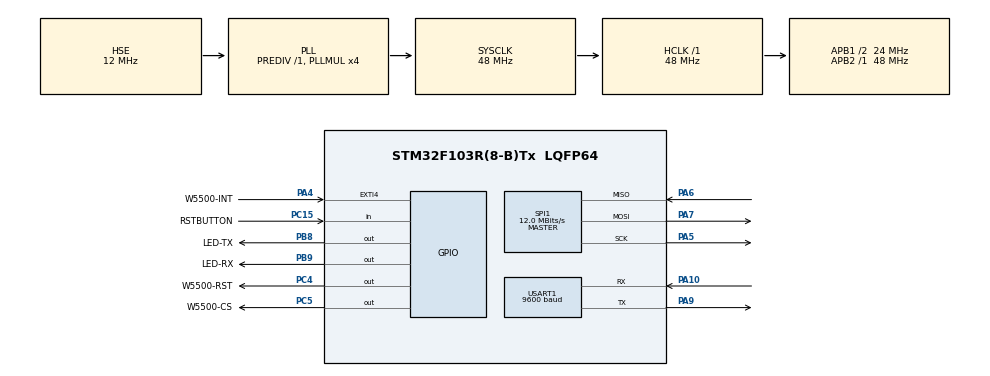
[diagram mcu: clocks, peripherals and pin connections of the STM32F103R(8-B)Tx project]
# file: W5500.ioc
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Mcu.Family=STM32F1
Mcu.Name=STM32F103R(8-B)Tx
Mcu.Package=LQFP64
NVIC.EXTI4_IRQn=true\:0\:0\:false\:false\:true\:true\:true\:true
NVIC.PriorityGroup=NVIC_PRIORITYGROUP_4
NVIC.SPI1_IRQn=true\:0\:0\:false\:false\:true\:true\:true\:true
NVIC.TIM2_IRQn=true\:0\:0\:false\:false\:true\:true\:true\:true
NVIC.TIM3_IRQn=true\:0\:0\:false\:false\:true\:true\:true\:true
NVIC.TIM4_IRQn=true\:0\:0\:false\:false\:true\:true\:true\:true
NVIC.USART1_IRQn=true\:0\:0\:false\:false\:true\:true\:true\:true
PA10.Mode=Asynchronous
PA10.Signal=USART1_RX
PA13.Mode=Serial_Wire
PA13.Signal=SYS_JTMS-SWDIO
PA14.Mode=Serial_Wire
PA14.Signal=SYS_JTCK-SWCLK
PA4.GPIO_Label=W5500-INT
PA4.GPIO_ModeDefaultEXTI=GPIO_MODE_IT_FALLING
PA4.Signal=GPXTI4
PA5.Mode=Full_Duplex_Master
PA5.Signal=SPI1_SCK
PA6.Mode=Full_Duplex_Master
PA6.Signal=SPI1_MISO
PA7.Mode=Full_Duplex_Master
PA7.Signal=SPI1_MOSI
PA9.Mode=Asynchronous
PA9.Signal=USART1_TX
PB8.GPIO_Label=LED-TX
PB8.GPIO_ModeDefaultOutputPP=GPIO_MODE_OUTPUT_OD
PB8.GPIO_PuPd=GPIO_NOPULL
PB8.PinState=GPIO_PIN_SET
PB8.Signal=GPIO_Output
PB9.GPIO_Label=LED-RX
PB9.PinState=GPIO_PIN_SET
PB9.Signal=GPIO_Output
PC15-OSC32_OUT.GPIO_Label=RSTBUTTON
PC15-OSC32_OUT.GPIO_PuPd=GPIO_PULLUP
PC15-OSC32_OUT.Signal=GPIO_Input
PC4.GPIO_Label=W5500-RST
PC4.GPIO_ModeDefaultOutputPP=GPIO_MODE_OUTPUT_PP
PC4.GPIO_PuPd=GPIO_NOPULL
PC4.PinState=GPIO_PIN_SET
PC4.Signal=GPIO_Output
PC5.GPIO_Label=W5500-CS
PC5.Signal=GPIO_Output
PD0-OSC_IN.Mode=HSE-External-Oscillator
PD0-OSC_IN.Signal=RCC_OSC_IN
PD1-OSC_OUT.Mode=HSE-External-Oscillator
PD1-OSC_OUT.Signal=RCC_OSC_OUT
ProjectManager.HeapSize=0x200
ProjectManager.StackSize=0x400
ProjectManager.TargetToolchain=STM32CubeIDE
RCC.AHBFreq_Value=48000000
RCC.APB1CLKDivider=RCC_HCLK_DIV2
RCC.APB1Freq_Value=24000000
RCC.APB1TimFreq_Value=48000000
RCC.APB2Freq_Value=48000000
RCC.APB2TimFreq_Value=48000000
RCC.HCLKFreq_Value=48000000
RCC.HSE_VALUE=12000000
RCC.PLLMUL=RCC_PLL_MUL4
RCC.PLLSourceVirtual=RCC_PLLSOURCE_HSE
RCC.SYSCLKFreq_VALUE=48000000
RCC.SYSCLKSource=RCC_SYSCLKSOURCE_PLLCLK
RCC.USBFreq_Value=48000000
SPI1.BaudRatePrescaler=SPI_BAUDRATEPRESCALER_4
SPI1.CalculateBaudRate=12.0 MBits/s
SPI1.Direction=SPI_DIRECTION_2LINES
SPI1.Mode=SPI_MODE_MASTER
SPI1.VirtualType=VM_MASTER
TIM2.Period=48000
TIM2.Prescaler=100
TIM3.Period=48000
TIM3.Prescaler=1
TIM4.Period=12000
TIM4.Prescaler=3
USART1.BaudRate=9600
USART1.VirtualMode=VM_ASYNC
VP_TIM2_VS_ClockSourceINT.Mode=Internal
VP_TIM3_VS_ClockSourceINT.Mode=Internal
VP_TIM4_VS_ClockSourceINT.Mode=Internal
board=custom

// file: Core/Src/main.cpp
/* USER CODE BEGIN Header */
/**
  ******************************************************************************
  * @file           : main.c
  * @brief          : Main program body
  ******************************************************************************
  * @attention
  *
  * Copyright (c) 2023 STMicroelectronics.
  * All rights reserved.
  *
  * This software is licensed under terms that can be found in the LICENSE file
  * in the root directory of this software component.
  * If no LICENSE file comes with this software, it is provided AS-IS.
  *
  ******************************************************************************
  */
/* USER CODE END Header */
#include "main.h"

/* USER CODE BEGIN Includes */
#include <stdlib.h>
#include <string.h>
#include "W5500.h"
#include "flashRW.h"
#include "dataProcessing.h"
/* USER CODE END Includes */

SPI_HandleTypeDef hspi1;

TIM_HandleTypeDef htim2;
TIM_HandleTypeDef htim3;
TIM_HandleTypeDef htim4;

UART_HandleTypeDef huart1;

/* USER CODE BEGIN PV */

CommonRegisterBlock crb {
	0, // uint8_t mr {0};		// offset 0x01
	0, // uint8_t gar0 {0};		// offset 0x01
	0, // uint8_t gar1 {0};		// offset 0x02
	0, // uint8_t gar2 {0};		// offset 0x03
	0, // uint8_t gar3 {0};		// offset 0x04
	255, // uint8_t subr0 {0};		// offset 0x05
	255, // uint8_t subr1 {0};		// offset 0x06
	255, // uint8_t subr2 {0};		// offset 0x07
	0, // uint8_t subr3 {0};		// offset 0x08
	0x00, //0x89, // uint8_t shar0 {0};		// offset 0x09
	0x20, //0xAB, // uint8_t shar1 {0};		// offset 0x0A
	0x4A, //0xCD, // uint8_t shar2 {0};		// offset 0x0B
	0xEB, //0xEF, // uint8_t shar3 {0};		// offset 0x0C
	0x03, //0, // uint8_t shar4 {0};		// offset 0x0D
	0x38, //0x02, // uint8_t shar5 {0};		// offset 0x0E
	10, // uint8_t sipr0 {0};		// offset 0x0F
	15, // uint8_t sipr1 {0};		// offset 0x10
	33, // uint8_t sipr2 {0};		// offset 0x11
	103, // uint8_t sipr3 {0};		// offset 0x12
	0, // uint8_t intlevel0 {0};	// offset 0x13
	0, // uint8_t intlevel1 {0};	// offset 0x14
	0, // uint8_t ir {0};			// offset 0x15
	0b11000000, // uint8_t imr {0};		// offset 0x16
	0, // uint8_t sir {0};		// offset 0x17
	0b00000111, // uint8_t simr {0};		// offset 0x18
	0x07, // uint8_t rtr0 {0x07};	// offset 0x19
	0xD0, // uint8_t rtr1 {0xD0};	// offset 0x1A
	0x08, // uint8_t rcr {0x08};		// offset 0x1B
	0x28, // uint8_t ptimer {0x28};	// offset 0x1C
	0, // uint8_t pmagic {0};		// offset 0x1D
	0, // uint8_t phar0 {0};		// offset 0x1E
	0, // uint8_t phar1 {0};		// offset 0x1F
	0, // uint8_t phar2 {0};		// offset 0x20
	0, // uint8_t phar3 {0};		// offset 0x21
	0, // uint8_t phar4 {0};		// offset 0x22
	0, // uint8_t phar5 {0};		// offset 0x23
	0, // uint8_t psid0 {0};		// offset 0x24
	0, // uint8_t psid1 {0};		// offset 0x25
	0xFF, // uint8_t pmru0 {0xFF};	// offset 0x26
	0xFF, // uint8_t pmru1 {0xFF};	// offset 0x27
	0, // uint8_t uipr0 {0};		// offset 0x28
	0, // uint8_t uipr1 {0};		// offset 0x29
	0, // uint8_t uipr2 {0};		// offset 0x2A
	0, // uint8_t uipr3 {0};		// offset 0x2B
	0, // uint8_t uportr0 {0};	// offset 0x2C
	0, // uint8_t uportr1 {0};	// offset 0x2D
	0b10111000, // uint8_t phycfgr {0b10111000};	// offset 0x2E
	0, // uint8_t reserved {0};	// offset 0x2F
};

CommonRegisterBlock crbDefault {
	0, // uint8_t mr {0};		// offset 0x01
	0, // uint8_t gar0 {0};		// offset 0x01
	0, // uint8_t gar1 {0};		// offset 0x02
	0, // uint8_t gar2 {0};		// offset 0x03
	0, // uint8_t gar3 {0};		// offset 0x04
	255, // uint8_t subr0 {0};		// offset 0x05
	255, // uint8_t subr1 {0};		// offset 0x06
	255, // uint8_t subr2 {0};		// offset 0x07
	0, // uint8_t subr3 {0};		// offset 0x08
	0x00, //0x89, // uint8_t shar0 {0};		// offset 0x09
	0x20, //0xAB, // uint8_t shar1 {0};		// offset 0x0A
	0x4A, //0xCD, // uint8_t shar2 {0};		// offset 0x0B
	0xEB, //0xEF, // uint8_t shar3 {0};		// offset 0x0C
	0x03, //0, // uint8_t shar4 {0};		// offset 0x0D
	0x38, //0x02, // uint8_t shar5 {0};		// offset 0x0E
	10, // uint8_t sipr0 {0};		// offset 0x0F
	15, // uint8_t sipr1 {0};		// offset 0x10
	33, // uint8_t sipr2 {0};		// offset 0x11
	103, // uint8_t sipr3 {0};		// offset 0x12
	0, // uint8_t intlevel0 {0};	// offset 0x13
	0, // uint8_t intlevel1 {0};	// offset 0x14
	0, // uint8_t ir {0};			// offset 0x15
	0b11000000, // uint8_t imr {0};		// offset 0x16
	0, // uint8_t sir {0};		// offset 0x17
	0b00000111, // uint8_t simr {0};		// offset 0x18
	0x07, // uint8_t rtr0 {0x07};	// offset 0x19
	0xD0, // uint8_t rtr1 {0xD0};	// offset 0x1A
	0x08, // uint8_t rcr {0x08};		// offset 0x1B
	0x28, // uint8_t ptimer {0x28};	// offset 0x1C
	0, // uint8_t pmagic {0};		// offset 0x1D
	0, // uint8_t phar0 {0};		// offset 0x1E
	0, // uint8_t phar1 {0};		// offset 0x1F
	0, // uint8_t phar2 {0};		// offset 0x20
	0, // uint8_t phar3 {0};		// offset 0x21
	0, // uint8_t phar4 {0};		// offset 0x22
	0, // uint8_t phar5 {0};		// offset 0x23
	0, // uint8_t psid0 {0};		// offset 0x24
	0, // uint8_t psid1 {0};		// offset 0x25
	0xFF, // uint8_t pmru0 {0xFF};	// offset 0x26
	0xFF, // uint8_t pmru1 {0xFF};	// offset 0x27
	0, // uint8_t uipr0 {0};		// offset 0x28
	0, // uint8_t uipr1 {0};		// offset 0x29
	0, // uint8_t uipr2 {0};		// offset 0x2A
	0, // uint8_t uipr3 {0};		// offset 0x2B
	0, // uint8_t uportr0 {0};	// offset 0x2C
	0, // uint8_t uportr1 {0};	// offset 0x2D
	0b10111000, // uint8_t phycfgr {0b10111000};	// offset 0x2E
	0, // uint8_t reserved {0};	// offset 0x2F
};

SocketRegisterBlock srb0 {
	0, // uint8_t sNmr {0};			// offset 0x00
	0, // uint8_t sNcr {0};			// offset 0x01
	0, // uint8_t sNir {0};			// offset 0x02
	0, // uint8_t sNsr {0};			// offset 0x03
	0x19, // uint8_t sNport0 {0};		// offset 0x04		// port 6500
	0x64, // uint8_t sNport1 {0};		// offset 0x05
	0xFF, //0x50, // uint8_t sNdhar0 {0xFF};		// offset 0x06	// 50-EB-F6-4D-BA-12
	0xFF, //0xEB, // uint8_t sNdhar1 {0xFF};		// offset 0x07
	0xFF, //0xF6, // uint8_t sNdhar2 {0xFF};		// offset 0x08
	0xFF, //0x4D, // uint8_t sNdhar3 {0xFF};		// offset 0x09
	0xFF, //0xBA, // uint8_t sNdhar4 {0xFF};		// offset 0x0A
	0xFF, //0x12, // uint8_t sNdhar5 {0xFF};		// offset 0x0B
	10, // uint8_t sNdipr0 {0};		// offset 0x0C
	15, // uint8_t sNdipr1 {0};		// offset 0x0D
	33, // uint8_t sNdipr2 {0};		// offset 0x0E
	1, // uint8_t sNdipr3 {0};		// offset 0x0F
	0x1D, // uint8_t sNdport0 {0};		// offset 0x10		// port 7500
	0x4C, // uint8_t sNdport1 {0};		// offset 0x11
	0, // uint8_t sNmssr0 {0};		// offset 0x12
	0, // uint8_t sNmssr1 {0};		// offset 0x13
	0, // uint8_t reserved14 {0};		// offset 0x14
	0, // uint8_t sNtos {0};			// offset 0x15
	0x80, // uint8_t sNttl {0x80};		// offset 0x16
	0, // uint8_t reserved17 {0};		// offset 0x17
	0, // uint8_t reserved18 {0};		// offset 0x18
	0, // uint8_t reserved19 {0};		// offset 0x19
	0, // uint8_t reserved1A {0};		// offset 0x1A
	0, // uint8_t reserved1B {0};		// offset 0x1B
	0, // uint8_t reserved1C {0};		// offset 0x1C
	0, // uint8_t reserved1D {0};		// offset 0x1D
	0x02, // uint8_t sNrxbufSize {0x02};	// offset 0x1E
	0x02, // uint8_t sNtxbufSize {0x02};	// offset 0x1F
	0x08, // uint8_t sNtxFsr0 {0x08};	// offset 0x20
	0, // uint8_t sNtxFsr1 {0};		// offset 0x21
	0, // uint8_t sNtxRd0 {0};		// offset 0x22
	0, // uint8_t sNtxRd1 {0};		// offset 0x23
	0, // uint8_t sNtxWr0 {0};		// offset 0x24
	0, // uint8_t sNtxWr1 {0};		// offset 0x25
	0, // uint8_t sNrxRsr0 {0};		// offset 0x26
	0, // uint8_t sNrxRsr1 {0};		// offset 0x27
	0, // uint8_t sNrxRd0 {0};		// offset 0x28
	0, // uint8_t sNrxRd1 {0};		// offset 0x29
	0, // uint8_t sNrxWr0 {0};		// offset 0x2A
	0, // uint8_t sNrxWr1 {0};		// offset 0x2B
	0xFF, // uint8_t sNimr {0xFF};		// offset 0x2C
	0x40, // uint8_t sNfrag0  {0x40};	// offset 0x2D
	0, // uint8_t sNfrag1 {0};		// offset 0x2E
	0, // uint8_t sNkpalvtr {0};		// offset 0x2F
};

SocketRegisterBlock srb0Default {
	0, // uint8_t sNmr {0};			// offset 0x00
	0, // uint8_t sNcr {0};			// offset 0x01
	0, // uint8_t sNir {0};			// offset 0x02
	0, // uint8_t sNsr {0};			// offset 0x03
	0x19, // uint8_t sNport0 {0};		// offset 0x04		// port 6500
	0x64, // uint8_t sNport1 {0};		// offset 0x05
	0xFF, //0x50, // uint8_t sNdhar0 {0xFF};		// offset 0x06	// 50-EB-F6-4D-BA-12
	0xFF, //0xEB, // uint8_t sNdhar1 {0xFF};		// offset 0x07
	0xFF, //0xF6, // uint8_t sNdhar2 {0xFF};		// offset 0x08
	0xFF, //0x4D, // uint8_t sNdhar3 {0xFF};		// offset 0x09
	0xFF, //0xBA, // uint8_t sNdhar4 {0xFF};		// offset 0x0A
	0xFF, //0x12, // uint8_t sNdhar5 {0xFF};		// offset 0x0B
	10, // uint8_t sNdipr0 {0};		// offset 0x0C
	15, // uint8_t sNdipr1 {0};		// offset 0x0D
	33, // uint8_t sNdipr2 {0};		// offset 0x0E
	1, // uint8_t sNdipr3 {0};		// offset 0x0F
	0x1D, // uint8_t sNdport0 {0};		// offset 0x10		// port 7500
	0x4C, // uint8_t sNdport1 {0};		// offset 0x11
	0, // uint8_t sNmssr0 {0};		// offset 0x12
	0, // uint8_t sNmssr1 {0};		// offset 0x13
	0, // uint8_t reserved14 {0};		// offset 0x14
	0, // uint8_t sNtos {0};			// offset 0x15
	0x80, // uint8_t sNttl {0x80};		// offset 0x16
	0, // uint8_t reserved17 {0};		// offset 0x17
	0, // uint8_t reserved18 {0};		// offset 0x18
	0, // uint8_t reserved19 {0};		// offset 0x19
	0, // uint8_t reserved1A {0};		// offset 0x1A
	0, // uint8_t reserved1B {0};		// offset 0x1B
	0, // uint8_t reserved1C {0};		// offset 0x1C
	0, // uint8_t reserved1D {0};		// offset 0x1D
	0x02, // uint8_t sNrxbufSize {0x02};	// offset 0x1E
	0x02, // uint8_t sNtxbufSize {0x02};	// offset 0x1F
	0x08, // uint8_t sNtxFsr0 {0x08};	// offset 0x20
	0, // uint8_t sNtxFsr1 {0};		// offset 0x21
	0, // uint8_t sNtxRd0 {0};		// offset 0x22
	0, // uint8_t sNtxRd1 {0};		// offset 0x23
	0, // uint8_t sNtxWr0 {0};		// offset 0x24
	0, // uint8_t sNtxWr1 {0};		// offset 0x25
	0, // uint8_t sNrxRsr0 {0};		// offset 0x26
	0, // uint8_t sNrxRsr1 {0};		// offset 0x27
	0, // uint8_t sNrxRd0 {0};		// offset 0x28
	0, // uint8_t sNrxRd1 {0};		// offset 0x29
	0, // uint8_t sNrxWr0 {0};		// offset 0x2A
	0, // uint8_t sNrxWr1 {0};		// offset 0x2B
	0xFF, // uint8_t sNimr {0xFF};		// offset 0x2C
	0x40, // uint8_t sNfrag0  {0x40};	// offset 0x2D
	0, // uint8_t sNfrag1 {0};		// offset 0x2E
	0, // uint8_t sNkpalvtr {0};		// offset 0x2F
};

SocketRegisterBlock srb1 {
	0, // uint8_t sNmr {0};			// offset 0x00
	0, // uint8_t sNcr {0};			// offset 0x01
	0, // uint8_t sNir {0};			// offset 0x02
	0, // uint8_t sNsr {0};			// offset 0x03
	0x19, // uint8_t sNport0 {0};		// offset 0x04		// port 6501
	0x65, // uint8_t sNport1 {0};		// offset 0x05
	0x50, // uint8_t sNdhar0 {0xFF};		// offset 0x06	// 50-EB-F6-4D-BA-12
	0xEB, // uint8_t sNdhar1 {0xFF};		// offset 0x07
	0xF6, // uint8_t sNdhar2 {0xFF};		// offset 0x08
	0x4D, // uint8_t sNdhar3 {0xFF};		// offset 0x09
	0xBA, // uint8_t sNdhar4 {0xFF};		// offset 0x0A
	0x12, // uint8_t sNdhar5 {0xFF};		// offset 0x0B
	10, // uint8_t sNdipr0 {0};		// offset 0x0C
	15, // uint8_t sNdipr1 {0};		// offset 0x0D
	33, // uint8_t sNdipr2 {0};		// offset 0x0E
	1, // uint8_t sNdipr3 {0};		// offset 0x0F
	0x1D, // uint8_t sNdport0 {0};		// offset 0x10		// port 7500
	0x4C, // uint8_t sNdport1 {0};		// offset 0x11
	0, // uint8_t sNmssr0 {0};		// offset 0x12
	0, // uint8_t sNmssr1 {0};		// offset 0x13
	0, // uint8_t reserved14 {0};		// offset 0x14
	0, // uint8_t sNtos {0};			// offset 0x15
	0x80, // uint8_t sNttl {0x80};		// offset 0x16
	0, // uint8_t reserved17 {0};		// offset 0x17
	0, // uint8_t reserved18 {0};		// offset 0x18
	0, // uint8_t reserved19 {0};		// offset 0x19
	0, // uint8_t reserved1A {0};		// offset 0x1A
	0, // uint8_t reserved1B {0};		// offset 0x1B
	0, // uint8_t reserved1C {0};		// offset 0x1C
	0, // uint8_t reserved1D {0};		// offset 0x1D
	0x02, // uint8_t sNrxbufSize {0x02};	// offset 0x1E
	0x02, // uint8_t sNtxbufSize {0x02};	// offset 0x1F
	0x08, // uint8_t sNtxFsr0 {0x08};	// offset 0x20
	0, // uint8_t sNtxFsr1 {0};		// offset 0x21
	0, // uint8_t sNtxRd0 {0};		// offset 0x22
	0, // uint8_t sNtxRd1 {0};		// offset 0x23
	0, // uint8_t sNtxWr0 {0};		// offset 0x24
	0, // uint8_t sNtxWr1 {0};		// offset 0x25
	0, // uint8_t sNrxRsr0 {0};		// offset 0x26
	0, // uint8_t sNrxRsr1 {0};		// offset 0x27
	0, // uint8_t sNrxRd0 {0};		// offset 0x28
	0, // uint8_t sNrxRd1 {0};		// offset 0x29
	0, // uint8_t sNrxWr0 {0};		// offset 0x2A
	0, // uint8_t sNrxWr1 {0};		// offset 0x2B
	0xFF, // uint8_t sNimr {0xFF};		// offset 0x2C
	0x40, // uint8_t sNfrag0  {0x40};	// offset 0x2D
	0, // uint8_t sNfrag1 {0};		// offset 0x2E
	0, // uint8_t sNkpalvtr {0};		// offset 0x2F
};

SocketRegisterBlock srb1Default {
	0, // uint8_t sNmr {0};			// offset 0x00
	0, // uint8_t sNcr {0};			// offset 0x01
	0, // uint8_t sNir {0};			// offset 0x02
	0, // uint8_t sNsr {0};			// offset 0x03
	0x19, // uint8_t sNport0 {0};		// offset 0x04		// port 6501
	0x65, // uint8_t sNport1 {0};		// offset 0x05
	0x50, // uint8_t sNdhar0 {0xFF};		// offset 0x06	// 50-EB-F6-4D-BA-12
	0xEB, // uint8_t sNdhar1 {0xFF};		// offset 0x07
	0xF6, // uint8_t sNdhar2 {0xFF};		// offset 0x08
	0x4D, // uint8_t sNdhar3 {0xFF};		// offset 0x09
	0xBA, // uint8_t sNdhar4 {0xFF};		// offset 0x0A
	0x12, // uint8_t sNdhar5 {0xFF};		// offset 0x0B
	10, // uint8_t sNdipr0 {0};		// offset 0x0C
	15, // uint8_t sNdipr1 {0};		// offset 0x0D
	33, // uint8_t sNdipr2 {0};		// offset 0x0E
	1, // uint8_t sNdipr3 {0};		// offset 0x0F
	0x1D, // uint8_t sNdport0 {0};		// offset 0x10		// port 7500
	0x4C, // uint8_t sNdport1 {0};		// offset 0x11
	0, // uint8_t sNmssr0 {0};		// offset 0x12
	0, // uint8_t sNmssr1 {0};		// offset 0x13
	0, // uint8_t reserved14 {0};		// offset 0x14
	0, // uint8_t sNtos {0};			// offset 0x15
	0x80, // uint8_t sNttl {0x80};		// offset 0x16
	0, // uint8_t reserved17 {0};		// offset 0x17
	0, // uint8_t reserved18 {0};		// offset 0x18
	0, // uint8_t reserved19 {0};		// offset 0x19
	0, // uint8_t reserved1A {0};		// offset 0x1A
	0, // uint8_t reserved1B {0};		// offset 0x1B
	0, // uint8_t reserved1C {0};		// offset 0x1C
	0, // uint8_t reserved1D {0};		// offset 0x1D
	0x02, // uint8_t sNrxbufSize {0x02};	// offset 0x1E
	0x02, // uint8_t sNtxbufSize {0x02};	// offset 0x1F
	0x08, // uint8_t sNtxFsr0 {0x08};	// offset 0x20
	0, // uint8_t sNtxFsr1 {0};		// offset 0x21
	0, // uint8_t sNtxRd0 {0};		// offset 0x22
	0, // uint8_t sNtxRd1 {0};		// offset 0x23
	0, // uint8_t sNtxWr0 {0};		// offset 0x24
	0, // uint8_t sNtxWr1 {0};		// offset 0x25
	0, // uint8_t sNrxRsr0 {0};		// offset 0x26
	0, // uint8_t sNrxRsr1 {0};		// offset 0x27
	0, // uint8_t sNrxRd0 {0};		// offset 0x28
	0, // uint8_t sNrxRd1 {0};		// offset 0x29
	0, // uint8_t sNrxWr0 {0};		// offset 0x2A
	0, // uint8_t sNrxWr1 {0};		// offset 0x2B
	0xFF, // uint8_t sNimr {0xFF};		// offset 0x2C
	0x40, // uint8_t sNfrag0  {0x40};	// offset 0x2D
	0, // uint8_t sNfrag1 {0};		// offset 0x2E
	0, // uint8_t sNkpalvtr {0};		// offset 0x2F
};

SocketRegisterBlock srb2 {
	0, // uint8_t sNmr {0};			// offset 0x00
	0, // uint8_t sNcr {0};			// offset 0x01
	0, // uint8_t sNir {0};			// offset 0x02
	0, // uint8_t sNsr {0};			// offset 0x03
	0x1E, // uint8_t sNport0 {0};		// offset 0x04		// port 7777
	0x61, // uint8_t sNport1 {0};		// offset 0x05
	0x50, // uint8_t sNdhar0 {0xFF};		// offset 0x06	// 50-EB-F6-4D-BA-12
	0xEB, // uint8_t sNdhar1 {0xFF};		// offset 0x07
	0xF6, // uint8_t sNdhar2 {0xFF};		// offset 0x08
	0x4D, // uint8_t sNdhar3 {0xFF};		// offset 0x09
	0xBA, // uint8_t sNdhar4 {0xFF};		// offset 0x0A
	0x12, // uint8_t sNdhar5 {0xFF};		// offset 0x0B
	10, // uint8_t sNdipr0 {0};		// offset 0x0C
	15, // uint8_t sNdipr1 {0};		// offset 0x0D
	33, // uint8_t sNdipr2 {0};		// offset 0x0E
	1, // uint8_t sNdipr3 {0};		// offset 0x0F
	0, // uint8_t sNdport0 {0};		// offset 0x10		// port 23
	23, // uint8_t sNdport1 {0};		// offset 0x11
	0, // uint8_t sNmssr0 {0};		// offset 0x12
	0, // uint8_t sNmssr1 {0};		// offset 0x13
	0, // uint8_t reserved14 {0};		// offset 0x14
	0, // uint8_t sNtos {0};			// offset 0x15
	0x80, // uint8_t sNttl {0x80};		// offset 0x16
	0, // uint8_t reserved17 {0};		// offset 0x17
	0, // uint8_t reserved18 {0};		// offset 0x18
	0, // uint8_t reserved19 {0};		// offset 0x19
	0, // uint8_t reserved1A {0};		// offset 0x1A
	0, // uint8_t reserved1B {0};		// offset 0x1B
	0, // uint8_t reserved1C {0};		// offset 0x1C
	0, // uint8_t reserved1D {0};		// offset 0x1D
	0x02, // uint8_t sNrxbufSize {0x02};	// offset 0x1E
	0x02, // uint8_t sNtxbufSize {0x02};	// offset 0x1F
	0x08, // uint8_t sNtxFsr0 {0x08};	// offset 0x20
	0, // uint8_t sNtxFsr1 {0};		// offset 0x21
	0, // uint8_t sNtxRd0 {0};		// offset 0x22
	0, // uint8_t sNtxRd1 {0};		// offset 0x23
	0, // uint8_t sNtxWr0 {0};		// offset 0x24
	0, // uint8_t sNtxWr1 {0};		// offset 0x25
	0, // uint8_t sNrxRsr0 {0};		// offset 0x26
	0, // uint8_t sNrxRsr1 {0};		// offset 0x27
	0, // uint8_t sNrxRd0 {0};		// offset 0x28
	0, // uint8_t sNrxRd1 {0};		// offset 0x29
	0, // uint8_t sNrxWr0 {0};		// offset 0x2A
	0, // uint8_t sNrxWr1 {0};		// offset 0x2B
	0xFF, // uint8_t sNimr {0xFF};		// offset 0x2C
	0x40, // uint8_t sNfrag0  {0x40};	// offset 0x2D
	0, // uint8_t sNfrag1 {0};		// offset 0x2E
	0, // uint8_t sNkpalvtr {0};		// offset 0x2F
};

SocketRegisterBlock srb2Default {
	0, // uint8_t sNmr {0};			// offset 0x00
	0, // uint8_t sNcr {0};			// offset 0x01
	0, // uint8_t sNir {0};			// offset 0x02
	0, // uint8_t sNsr {0};			// offset 0x03
	0x1E, // uint8_t sNport0 {0};		// offset 0x04		// port 7777
	0x61, // uint8_t sNport1 {0};		// offset 0x05
	0x50, // uint8_t sNdhar0 {0xFF};		// offset 0x06	// 50-EB-F6-4D-BA-12
	0xEB, // uint8_t sNdhar1 {0xFF};		// offset 0x07
	0xF6, // uint8_t sNdhar2 {0xFF};		// offset 0x08
	0x4D, // uint8_t sNdhar3 {0xFF};		// offset 0x09
	0xBA, // uint8_t sNdhar4 {0xFF};		// offset 0x0A
	0x12, // uint8_t sNdhar5 {0xFF};		// offset 0x0B
	10, // uint8_t sNdipr0 {0};		// offset 0x0C
	15, // uint8_t sNdipr1 {0};		// offset 0x0D
	33, // uint8_t sNdipr2 {0};		// offset 0x0E
	1, // uint8_t sNdipr3 {0};		// offset 0x0F
	0, // uint8_t sNdport0 {0};		// offset 0x10		// port 23
	23, // uint8_t sNdport1 {0};		// offset 0x11
	0, // uint8_t sNmssr0 {0};		// offset 0x12
	0, // uint8_t sNmssr1 {0};		// offset 0x13
	0, // uint8_t reserved14 {0};		// offset 0x14
	0, // uint8_t sNtos {0};			// offset 0x15
	0x80, // uint8_t sNttl {0x80};		// offset 0x16
	0, // uint8_t reserved17 {0};		// offset 0x17
	0, // uint8_t reserved18 {0};		// offset 0x18
	0, // uint8_t reserved19 {0};		// offset 0x19
	0, // uint8_t reserved1A {0};		// offset 0x1A
	0, // uint8_t reserved1B {0};		// offset 0x1B
	0, // uint8_t reserved1C {0};		// offset 0x1C
	0, // uint8_t reserved1D {0};		// offset 0x1D
	0x02, // uint8_t sNrxbufSize {0x02};	// offset 0x1E
	0x02, // uint8_t sNtxbufSize {0x02};	// offset 0x1F
	0x08, // uint8_t sNtxFsr0 {0x08};	// offset 0x20
	0, // uint8_t sNtxFsr1 {0};		// offset 0x21
	0, // uint8_t sNtxRd0 {0};		// offset 0x22
	0, // uint8_t sNtxRd1 {0};		// offset 0x23
	0, // uint8_t sNtxWr0 {0};		// offset 0x24
	0, // uint8_t sNtxWr1 {0};		// offset 0x25
	0, // uint8_t sNrxRsr0 {0};		// offset 0x26
	0, // uint8_t sNrxRsr1 {0};		// offset 0x27
	0, // uint8_t sNrxRd0 {0};		// offset 0x28
	0, // uint8_t sNrxRd1 {0};		// offset 0x29
	0, // uint8_t sNrxWr0 {0};		// offset 0x2A
	0, // uint8_t sNrxWr1 {0};		// offset 0x2B
	0xFF, // uint8_t sNimr {0xFF};		// offset 0x2C
	0x40, // uint8_t sNfrag0  {0x40};	// offset 0x2D
	0, // uint8_t sNfrag1 {0};		// offset 0x2E
	0, // uint8_t sNkpalvtr {0};		// offset 0x2F
};

SocketRegisterBlock srb3, srb4, srb5, srb6, srb7 {
	0, // uint8_t sNmr {0};			// offset 0x00
	0, // uint8_t sNcr {0};			// offset 0x01
	0, // uint8_t sNir {0};			// offset 0x02
	0, // uint8_t sNsr {0};			// offset 0x03
	0, // uint8_t sNport0 {0};		// offset 0x04
	0, // uint8_t sNport1 {0};		// offset 0x05
	0xFF, // uint8_t sNdhar0 {0xFF};		// offset 0x06
	0xFF, // uint8_t sNdhar1 {0xFF};		// offset 0x07
	0xFF, // uint8_t sNdhar2 {0xFF};		// offset 0x08
	0xFF, // uint8_t sNdhar3 {0xFF};		// offset 0x09
	0xFF, // uint8_t sNdhar4 {0xFF};		// offset 0x0A
	0xFF, // uint8_t sNdhar5 {0xFF};		// offset 0x0B
	0, // uint8_t sNdipr0 {0};		// offset 0x0C
	0, // uint8_t sNdipr1 {0};		// offset 0x0D
	0, // uint8_t sNdipr2 {0};		// offset 0x0E
	0, // uint8_t sNdipr3 {0};		// offset 0x0F
	0, // uint8_t sNdport0 {0};		// offset 0x10
	0, // uint8_t sNdport1 {0};		// offset 0x11
	0, // uint8_t sNmssr0 {0};		// offset 0x12
	0, // uint8_t sNmssr1 {0};		// offset 0x13
	0, // uint8_t reserved14 {0};		// offset 0x14
	0, // uint8_t sNtos {0};			// offset 0x15
	0x80, // uint8_t sNttl {0x80};		// offset 0x16
	0, // uint8_t reserved17 {0};		// offset 0x17
	0, // uint8_t reserved18 {0};		// offset 0x18
	0, // uint8_t reserved19 {0};		// offset 0x19
	0, // uint8_t reserved1A {0};		// offset 0x1A
	0, // uint8_t reserved1B {0};		// offset 0x1B
	0, // uint8_t reserved1C {0};		// offset 0x1C
	0, // uint8_t reserved1D {0};		// offset 0x1D
	0x02, // uint8_t sNrxbufSize {0x02};	// offset 0x1E
	0x02, // uint8_t sNtxbufSize {0x02};	// offset 0x1F
	0x08, // uint8_t sNtxFsr0 {0x08};	// offset 0x20
	0, // uint8_t sNtxFsr1 {0};		// offset 0x21
	0, // uint8_t sNtxRd0 {0};		// offset 0x22
	0, // uint8_t sNtxRd1 {0};		// offset 0x23
	0, // uint8_t sNtxWr0 {0};		// offset 0x24
	0, // uint8_t sNtxWr1 {0};		// offset 0x25
	0, // uint8_t sNrxRsr0 {0};		// offset 0x26
	0, // uint8_t sNrxRsr1 {0};		// offset 0x27
	0, // uint8_t sNrxRd0 {0};		// offset 0x28
	0, // uint8_t sNrxRd1 {0};		// offset 0x29
	0, // uint8_t sNrxWr0 {0};		// offset 0x2A
	0, // uint8_t sNrxWr1 {0};		// offset 0x2B
	0xFF, // uint8_t sNimr {0xFF};		// offset 0x2C
	0x40, // uint8_t sNfrag0  {0x40};	// offset 0x2D
	0, // uint8_t sNfrag1 {0};		// offset 0x2E
	0, // uint8_t sNkpalvtr {0};		// offset 0x2F
};

SocketRegisterBlock srb3_7Default {
	0, // uint8_t sNmr {0};			// offset 0x00
	0, // uint8_t sNcr {0};			// offset 0x01
	0, // uint8_t sNir {0};			// offset 0x02
	0, // uint8_t sNsr {0};			// offset 0x03
	0, // uint8_t sNport0 {0};		// offset 0x04
	0, // uint8_t sNport1 {0};		// offset 0x05
	0xFF, // uint8_t sNdhar0 {0xFF};		// offset 0x06
	0xFF, // uint8_t sNdhar1 {0xFF};		// offset 0x07
	0xFF, // uint8_t sNdhar2 {0xFF};		// offset 0x08
	0xFF, // uint8_t sNdhar3 {0xFF};		// offset 0x09
	0xFF, // uint8_t sNdhar4 {0xFF};		// offset 0x0A
	0xFF, // uint8_t sNdhar5 {0xFF};		// offset 0x0B
	0, // uint8_t sNdipr0 {0};		// offset 0x0C
	0, // uint8_t sNdipr1 {0};		// offset 0x0D
	0, // uint8_t sNdipr2 {0};		// offset 0x0E
	0, // uint8_t sNdipr3 {0};		// offset 0x0F
	0, // uint8_t sNdport0 {0};		// offset 0x10
	0, // uint8_t sNdport1 {0};		// offset 0x11
	0, // uint8_t sNmssr0 {0};		// offset 0x12
	0, // uint8_t sNmssr1 {0};		// offset 0x13
	0, // uint8_t reserved14 {0};		// offset 0x14
	0, // uint8_t sNtos {0};			// offset 0x15
	0x80, // uint8_t sNttl {0x80};		// offset 0x16
	0, // uint8_t reserved17 {0};		// offset 0x17
	0, // uint8_t reserved18 {0};		// offset 0x18
	0, // uint8_t reserved19 {0};		// offset 0x19
	0, // uint8_t reserved1A {0};		// offset 0x1A
	0, // uint8_t reserved1B {0};		// offset 0x1B
	0, // uint8_t reserved1C {0};		// offset 0x1C
	0, // uint8_t reserved1D {0};		// offset 0x1D
	0x02, // uint8_t sNrxbufSize {0x02};	// offset 0x1E
	0x02, // uint8_t sNtxbufSize {0x02};	// offset 0x1F
	0x08, // uint8_t sNtxFsr0 {0x08};	// offset 0x20
	0, // uint8_t sNtxFsr1 {0};		// offset 0x21
	0, // uint8_t sNtxRd0 {0};		// offset 0x22
	0, // uint8_t sNtxRd1 {0};		// offset 0x23
	0, // uint8_t sNtxWr0 {0};		// offset 0x24
	0, // uint8_t sNtxWr1 {0};		// offset 0x25
	0, // uint8_t sNrxRsr0 {0};		// offset 0x26
	0, // uint8_t sNrxRsr1 {0};		// offset 0x27
	0, // uint8_t sNrxRd0 {0};		// offset 0x28
	0, // uint8_t sNrxRd1 {0};		// offset 0x29
	0, // uint8_t sNrxWr0 {0};		// offset 0x2A
	0, // uint8_t sNrxWr1 {0};		// offset 0x2B
	0xFF, // uint8_t sNimr {0xFF};		// offset 0x2C
	0x40, // uint8_t sNfrag0  {0x40};	// offset 0x2D
	0, // uint8_t sNfrag1 {0};		// offset 0x2E
	0, // uint8_t sNkpalvtr {0};		// offset 0x2F
};

// байт, прин�?тый по UART1
uint8_t receivedByteUART {0};
// пакет, прин�?тый по UART1
uint8_t receivedPacketUART[256];
// �?четчик байт, прин�?тых по UART1
uint8_t receivedBytesUARTCounter {0};
// флаг о получении пакета по UART
bool receivedPacketUARTisReady {false};

// копи�? пакета, прин�?того по UART1
uint8_t copiedReceivedPacketUART[256];
// копи�? �?четчика байт, прин�?тых по UART1
uint8_t copiedReceivedBytesUARTCounter {0};

// флаг о том что полученый пакет по UART необходимо отправить по UDP
bool needsTransmitUDP {false};
// флаг о том что полученый пакет по UART необходимо отправить по TCP
bool needsTransmitTCP {false};
// флаг о том что �?окет TCP закрыт и необходимо его открыть
bool needsOpenTCP {false};
// флаг о том что �?окет Telnet закрыт и необходимо его открыть
bool needsOpenTelnet {false};

// флаг о получении пакета по UDP
bool socket0dataReady {false};
// буфер данных полученных по UDP
uint8_t receiveSocket0data[2054];
// размер данных полученных по UDP
uint16_t sizeOfReceiveSocket0data;

// флаг о получении пакета по TCP
bool socket1dataReady {false};
// буфер данных полученных по TCP
uint8_t receiveSocket1data[2054];
// размер данных полученных по TCP
uint16_t sizeOfReceiveSocket1data;

// флаг о получении пакета по Telnet
bool socket2dataReady {false};
// буфер данных полученных по Telnet
uint8_t receiveSocket2data[2054];
// размер данных полученных по Telnet
uint16_t sizeOfReceiveSocket2data;

char bufferTelnet[256];
char* ptrReadBufferTelnet = bufferTelnet;
char* ptrWriteBufferTelnet = bufferTelnet;
char* ptrEndBufferTelnet = &bufferTelnet[256];
uint8_t typedValueCounter {0};

uint32_t temp32;

uint8_t receivedIPAddress[4];
uint8_t receivedSubnetMask[4];
uint8_t receivedMACAddress[6];
//char receivedMACTelnet[12];
uint8_t counterMessages {0};

extern char* arrText[];
extern char text0[];
extern char textNotApply[];
extern char textApply[];

uint32_t tempCRBfromFlash[12];
uint32_t tim2counter {0};
uint32_t tim2fixCounter {0};
bool tim2status {false};
/* USER CODE END PV */

void SystemClock_Config(void);
static void MX_GPIO_Init(void);
static void MX_SPI1_Init(void);
static void MX_USART1_UART_Init(void);
static void MX_TIM4_Init(void);
static void MX_TIM3_Init(void);
static void MX_TIM2_Init(void);

/* USER CODE BEGIN 0 */

// Cоздаем интерфейc c чипом W5500
W5500 ethernetA1(&hspi1, W5500_CS_GPIO_Port, W5500_CS_Pin, W5500_RST_GPIO_Port, W5500_RST_Pin);

/* USER CODE END 0 */

int main(void)
{

  /* MCU Configuration--------------------------------------------------------*/

  /* Reset of all peripherals, Initializes the Flash interface and the Systick. */
  HAL_Init();

  /* Configure the system clock */
  SystemClock_Config();

  /* Initialize all configured peripherals */
  MX_GPIO_Init();
  MX_SPI1_Init();

  MX_USART1_UART_Init();
  MX_TIM4_Init();
  MX_TIM3_Init();
  MX_TIM2_Init();
  /* USER CODE BEGIN 2 */

  readCRBfromFlash(tempCRBfromFlash);
  if (tempCRBfromFlash[11] != 0xFFFFFFFF)
  {
	  uint32_t* pData32 = (uint32_t*) &crb;
	  for (unsigned int i = 0; i < 12; i++)
	  {
		  *(pData32 + i) = tempCRBfromFlash[i];
	  }
  }
  //writeFLASH();

  //readFLASH();

  //char temp[4];
  //utoa(crb.sipr0, temp, 4);
  //text0[23] = temp[0];

  fillText();

  // Включаем чип W5500 через �?бро�?
  ethernetA1.reset();

  // Запи�?ываем "на�?тройки" в блок реги�?тров CRB
  ethernetA1.writeArrayToCRB(&crb.mr, 47, W5500_MR);

  HAL_Delay(10);

  // У�?танавливаем режим UDP дл�? �?окета 0
  //ethernetA1.writeByteToSRB(SOCKET0, W5500_Sn_MR_UDP | W5500_Sn_MR_MULTI_MFEN, W5500_Sn_MR);
  ethernetA1.writeByteToSRB(SOCKET0, W5500_Sn_MR_UDP, W5500_Sn_MR);

  // У�?танавливаем режим TCP дл�? �?окета 1
  ethernetA1.writeByteToSRB(SOCKET1, W5500_Sn_MR_TCP | W5500_Sn_MR_MULTI_MFEN, W5500_Sn_MR);

  // У�?танавливаем режим TCP дл�? �?окета 2
  ethernetA1.writeByteToSRB(SOCKET2, W5500_Sn_MR_TCP | W5500_Sn_MR_MULTI_MFEN, W5500_Sn_MR);

  // Отключаем прерывани�? при отправке дл�? �?окета 0
  ethernetA1.writeByteToSRB(SOCKET0, W5500_Sn_IMR_SEND_OK_OFF, W5500_Sn_IMR);

  // Отключаем прерывани�? при отправке, �?оединении дл�? �?окета 1
  ethernetA1.writeByteToSRB(SOCKET1, W5500_Sn_IMR_SEND_OK_OFF & W5500_Sn_IMR_CON_OFF, W5500_Sn_IMR);

  // Отключаем прерывани�? при отправке дл�? �?окета 2
  ethernetA1.writeByteToSRB(SOCKET2, W5500_Sn_IMR_SEND_OK_OFF, W5500_Sn_IMR);

  HAL_Delay(10);

  // Запи�?ываем порты, MAC, IP в блок реги�?тров SRB �?окета 0
  ethernetA1.writeArrayToSRB(SOCKET0, &srb0.sNport0, 14, W5500_Sn_PORT);

  // Запи�?ываем порты, MAC, IP в блок реги�?тров SRB �?окета 1
  ethernetA1.writeArrayToSRB(SOCKET1, &srb1.sNport0, 14, W5500_Sn_PORT);

  // Запи�?ываем порты, MAC, IP в блок реги�?тров SRB �?окета 2
  ethernetA1.writeArrayToSRB(SOCKET2, &srb2.sNport0, 14, W5500_Sn_PORT);

  HAL_Delay(10);

  // Открываем �?окет 0
  ethernetA1.writeByteToSRB(SOCKET0, W5500_Sn_CR_OPEN, W5500_Sn_CR);

  // Открываем �?окет 1
  ethernetA1.writeByteToSRB(SOCKET1, W5500_Sn_CR_OPEN, W5500_Sn_CR);

  // Открываем �?окет 2
  ethernetA1.writeByteToSRB(SOCKET2, W5500_Sn_CR_OPEN, W5500_Sn_CR);

  HAL_Delay(1);

  // провер�?ем что �?окет 1 проиницилизирован и запу�?каем режим �?ервера
  if (ethernetA1.readByteFromSRB(SOCKET1, W5500_Sn_SR) == W5500_Sn_SR_SOCK_INIT)
  {
	  ethernetA1.writeByteToSRB(SOCKET1, W5500_Sn_CR_LISTEN, W5500_Sn_CR);
  }

  // провер�?ем что �?окет 2 проиницилизирован и запу�?каем режим �?ервера
  if (ethernetA1.readByteFromSRB(SOCKET2, W5500_Sn_SR) == W5500_Sn_SR_SOCK_INIT)
  {
	  ethernetA1.writeByteToSRB(SOCKET2, W5500_Sn_CR_LISTEN, W5500_Sn_CR);
  }

  HAL_Delay(1);

  // Разрешаем прием по UART
  HAL_UART_Receive_IT(&huart1, &receivedByteUART, 1);

  // очищаем флаги прерываний
  CLEAR_BIT(TIM2->SR, TIM_SR_UIF);
  CLEAR_BIT(TIM3->SR, TIM_SR_UIF);
  CLEAR_BIT(TIM4->SR, TIM_SR_UIF);

  // запу�?каем таймер TIM2, от�?читываем время по 100мс
  HAL_TIM_Base_Start_IT(&htim2);

  /* USER CODE END 2 */

  /* Infinite loop */
  /* USER CODE BEGIN WHILE */
  while (1)
  {
	  // провер�?ем е�?ть ли данные по UDP
	  if (socket0dataReady)
	  {
		  if((HAL_UART_GetState(&huart1) == HAL_UART_STATE_READY) || (HAL_UART_GetState(&huart1) == HAL_UART_STATE_BUSY_RX))
		  {
			  //// изначально было TX
			  HAL_GPIO_WritePin(LED_RX_GPIO_Port, LED_RX_Pin, GPIO_PIN_RESET);
			  HAL_UART_Transmit_IT(&huart1, &receiveSocket0data[8], (sizeOfReceiveSocket0data-8));

			  socket0dataReady = false;
		  }
	  }

	  // провер�?ем е�?ть ли данные по TCP
	  if (socket1dataReady)
	  {
		  if((HAL_UART_GetState(&huart1) == HAL_UART_STATE_READY) || (HAL_UART_GetState(&huart1) == HAL_UART_STATE_BUSY_RX))
		  {
			  //// изначально было TX
			  HAL_GPIO_WritePin(LED_RX_GPIO_Port, LED_RX_Pin, GPIO_PIN_RESET);
			  HAL_UART_Transmit_IT(&huart1, receiveSocket1data, sizeOfReceiveSocket1data);

			  socket1dataReady = false;
		  }
	  }

	  // провер�?ем е�?ть ли данные по Telnet
	  if (socket2dataReady)
	  {
		  for(int i = 0; i < sizeOfReceiveSocket2data; ++i)
		  {
			  if (ptrWriteBufferTelnet <= ptrEndBufferTelnet)
			  {
				  *ptrWriteBufferTelnet = receiveSocket2data[i];
				  ++ptrWriteBufferTelnet;
			  }
		  }

		  if( *(ptrWriteBufferTelnet - 1) == '\n')
		  {
			  if (counterMessages < 4)
			  {
				  if (*ptrReadBufferTelnet == '\n' || *ptrReadBufferTelnet == '\r')
				  {
					  receivedIPAddress[counterMessages] = *(&crb.sipr0 + counterMessages);
				  }
				  else
				  {
					  temp32 = atoi(ptrReadBufferTelnet);
					  if (temp32 > 0 && temp32 < 256) receivedIPAddress[counterMessages] = (uint8_t)temp32;
					  else receivedIPAddress[counterMessages] = 0;

				  }
				  ++counterMessages;
				  ptrReadBufferTelnet = ptrWriteBufferTelnet;
			  }
			  else if (counterMessages < 8)
			  {
				  if (*ptrReadBufferTelnet == '\n' || *ptrReadBufferTelnet == '\r')
				  {
					  receivedSubnetMask[counterMessages - 4] = *(&crb.subr0 + counterMessages - 4);
				  }
				  else
				  {
					  temp32 = atoi(ptrReadBufferTelnet);
					  if (temp32 > 0 && temp32 < 256) receivedSubnetMask[counterMessages - 4] = (uint8_t)temp32;
					  else receivedSubnetMask[counterMessages - 4] = 0;
				  }
				  ++counterMessages;
				  ptrReadBufferTelnet = ptrWriteBufferTelnet;
			  }
			  else if (counterMessages < 14)
			  {
				  if (*ptrReadBufferTelnet == '\n' || *ptrReadBufferTelnet == '\r')
				  {
					  receivedMACAddress[counterMessages - 8] = *(&crb.shar0 + counterMessages - 8);
					  ptrReadBufferTelnet = ptrWriteBufferTelnet;
				  }
				  else
				  {
					  uint8_t tempCounter { 0 };
					  while (ptrReadBufferTelnet != ptrWriteBufferTelnet)
					  {
						  if (tempCounter == 0)
						  {
							  if (*ptrReadBufferTelnet >= '0' && *ptrReadBufferTelnet <= '9')
							  {
								  receivedMACAddress[counterMessages - 8] = (*ptrReadBufferTelnet - 48)*16;
								  ++tempCounter;
							  }
							  else if (*ptrReadBufferTelnet >= 'A' && *ptrReadBufferTelnet <= 'F')
							  {
								  receivedMACAddress[counterMessages - 8] = (*ptrReadBufferTelnet - 55)*16;
								  ++tempCounter;
							  }
							  else if (*ptrReadBufferTelnet >= 'a' && *ptrReadBufferTelnet <= 'f')
							  {
								  receivedMACAddress[counterMessages - 8] = (*ptrReadBufferTelnet - 87)*16;
								  ++tempCounter;
							  }
						  }
						  else if (tempCounter == 1)
						  {
							  if (*ptrReadBufferTelnet >= '0' && *ptrReadBufferTelnet <= '9')
							  {
								  receivedMACAddress[counterMessages - 8] += (*ptrReadBufferTelnet - 48);
								  ++tempCounter;
							  }
							  else if (*ptrReadBufferTelnet >= 'A' && *ptrReadBufferTelnet <= 'F')
							  {
								  receivedMACAddress[counterMessages - 8] += (*ptrReadBufferTelnet - 55);
								  ++tempCounter;
							  }
							  else if (*ptrReadBufferTelnet >= 'a' && *ptrReadBufferTelnet <= 'f')
							  {
								  receivedMACAddress[counterMessages - 8] += (*ptrReadBufferTelnet - 87);
								  ++tempCounter;
							  }
						  }
						  ++ptrReadBufferTelnet;
					  }
				  }
				  ++counterMessages;
			  }
			  else if (counterMessages == 14)
			  {
				  if (*ptrReadBufferTelnet == 'Y' || *ptrReadBufferTelnet == 'y')
				  {
					  ethernetA1.sendString(SOCKET2, textApply);
					  saveSettings();
				  }
				  else
				  {
					  ethernetA1.sendString(SOCKET2, textNotApply);

				  }
			  }

			  if(typedValueCounter == 13)
			  {
				  fillFinalText();
			  }
			  else if (typedValueCounter == 15)
			  {
				  ethernetA1.writeByteToSRB(SOCKET2, W5500_Sn_CR_DISCON, W5500_Sn_CR);
			  }

			  if (typedValueCounter < 14)
			  {
				  ethernetA1.sendString(SOCKET2, arrText[typedValueCounter]);
			  }
			  ++typedValueCounter;
		  }
		  socket2dataReady = false;
	  }

	  // провер�?ем е�?ть ли данные по UART
	  if (receivedPacketUARTisReady)
	  {
		  if (needsTransmitUDP)
		  {
			  // отправл�?ем данные, прин�?тые по UART, по UDP
			  ethernetA1.sendPacket(SOCKET0, copiedReceivedPacketUART, copiedReceivedBytesUARTCounter);

			  // �?бра�?ываем флаги
			  receivedPacketUARTisReady = false;
			  needsTransmitUDP = false;
		  }

		  if (needsTransmitTCP)
		  {
			  // отправл�?ем данные, прин�?тые по UART, по UDP
			  ethernetA1.sendPacket(SOCKET1, copiedReceivedPacketUART, copiedReceivedBytesUARTCounter);

			  // �?бра�?ываем флаги
			  receivedPacketUARTisReady = false;
			  needsTransmitTCP = false;
		  }
	  }

	  // е�?ли �?оединение по TCP было закрыто, нужно �?нова проинициализировать �?окет и перейти в режим про�?лушки (�?ервера)
	  if (needsOpenTCP)
	  {
		  // Открываем �?окет 1
		  ethernetA1.writeByteToSRB(SOCKET1, W5500_Sn_CR_OPEN, W5500_Sn_CR);

		  HAL_Delay(1);

		  // провер�?ем что �?окет 1 проиницилизирован и запу�?каем режим �?ервера
		  if (ethernetA1.readByteFromSRB(SOCKET1, W5500_Sn_SR) == W5500_Sn_SR_SOCK_INIT)
		  {
			  ethernetA1.writeByteToSRB(SOCKET1, W5500_Sn_CR_LISTEN, W5500_Sn_CR);
		  }

		  needsOpenTCP = false;
	  }

	  // е�?ли �?оединение по Telnet было закрыто, нужно �?нова проинициализировать �?окет и перейти в режим про�?лушки (�?ервера)
	  if (needsOpenTelnet)
	  {
		  // Открываем �?окет 2
		  ethernetA1.writeByteToSRB(SOCKET2, W5500_Sn_CR_OPEN, W5500_Sn_CR);

		  HAL_Delay(1);

		  // провер�?ем что �?окет 2 проиницилизирован и запу�?каем режим �?ервера
		  if (ethernetA1.readByteFromSRB(SOCKET2, W5500_Sn_SR) == W5500_Sn_SR_SOCK_INIT)
		  {
			  ethernetA1.writeByteToSRB(SOCKET2, W5500_Sn_CR_LISTEN, W5500_Sn_CR);
		  }

		  needsOpenTelnet = false;
	  }

/*
	  HAL_Delay(9000);
	  ethernetA1.readArrayFromSRB(SOCKET1, tempData, 48, W5500_Sn_MR);
	  if((HAL_UART_GetState(&huart1) == HAL_UART_STATE_READY) || (HAL_UART_GetState(&huart1) == HAL_UART_STATE_BUSY_RX))
	  {
		  HAL_GPIO_WritePin(LED_RX_GPIO_Port, LED_RX_Pin, GPIO_PIN_RESET);
		  HAL_UART_Transmit_IT(&huart1, tempData, 48);
	  }
	  HAL_Delay(1000);
	  ethernetA1.readArrayFromSRB(SOCKET2, tempData, 48, W5500_Sn_MR);
	  if((HAL_UART_GetState(&huart1) == HAL_UART_STATE_READY) || (HAL_UART_GetState(&huart1) == HAL_UART_STATE_BUSY_RX))
	  {
		  HAL_GPIO_WritePin(LED_RX_GPIO_Port, LED_RX_Pin, GPIO_PIN_RESET);
		  HAL_UART_Transmit_IT(&huart1, tempData, 48);
	  }
*/
    /* USER CODE END WHILE */

  }
}

void SystemClock_Config(void)
{
  RCC_OscInitTypeDef RCC_OscInitStruct = {0};
  RCC_ClkInitTypeDef RCC_ClkInitStruct = {0};

  /** Initializes the RCC Oscillators according to the specified parameters
  * in the RCC_OscInitTypeDef structure.
  */
  RCC_OscInitStruct.OscillatorType = RCC_OSCILLATORTYPE_HSE;
  RCC_OscInitStruct.HSEState = RCC_HSE_ON;
  RCC_OscInitStruct.HSEPredivValue = RCC_HSE_PREDIV_DIV1;
  RCC_OscInitStruct.HSIState = RCC_HSI_ON;
  RCC_OscInitStruct.PLL.PLLState = RCC_PLL_ON;
  RCC_OscInitStruct.PLL.PLLSource = RCC_PLLSOURCE_HSE;
  RCC_OscInitStruct.PLL.PLLMUL = RCC_PLL_MUL4;
  if (HAL_RCC_OscConfig(&RCC_OscInitStruct) != HAL_OK)
  {
    Error_Handler();
  }

  /** Initializes the CPU, AHB and APB buses clocks
  */
  RCC_ClkInitStruct.ClockType = RCC_CLOCKTYPE_HCLK|RCC_CLOCKTYPE_SYSCLK
                              |RCC_CLOCKTYPE_PCLK1|RCC_CLOCKTYPE_PCLK2;
  RCC_ClkInitStruct.SYSCLKSource = RCC_SYSCLKSOURCE_PLLCLK;
  RCC_ClkInitStruct.AHBCLKDivider = RCC_SYSCLK_DIV1;
  RCC_ClkInitStruct.APB1CLKDivider = RCC_HCLK_DIV2;
  RCC_ClkInitStruct.APB2CLKDivider = RCC_HCLK_DIV1;

  if (HAL_RCC_ClockConfig(&RCC_ClkInitStruct, FLASH_LATENCY_1) != HAL_OK)
  {
    Error_Handler();
  }
}

static void MX_SPI1_Init(void)
{

  /* SPI1 parameter configuration*/
  hspi1.Instance = SPI1;
  hspi1.Init.Mode = SPI_MODE_MASTER;
  hspi1.Init.Direction = SPI_DIRECTION_2LINES;
  hspi1.Init.DataSize = SPI_DATASIZE_8BIT;
  hspi1.Init.CLKPolarity = SPI_POLARITY_LOW;
  hspi1.Init.CLKPhase = SPI_PHASE_1EDGE;
  hspi1.Init.NSS = SPI_NSS_SOFT;
  hspi1.Init.BaudRatePrescaler = SPI_BAUDRATEPRESCALER_4;
  hspi1.Init.FirstBit = SPI_FIRSTBIT_MSB;
  hspi1.Init.TIMode = SPI_TIMODE_DISABLE;
  hspi1.Init.CRCCalculation = SPI_CRCCALCULATION_DISABLE;
  hspi1.Init.CRCPolynomial = 10;
  if (HAL_SPI_Init(&hspi1) != HAL_OK)
  {
    Error_Handler();
  }

}

static void MX_TIM2_Init(void)
{

  TIM_ClockConfigTypeDef sClockSourceConfig = {0};
  TIM_MasterConfigTypeDef sMasterConfig = {0};

  htim2.Instance = TIM2;
  htim2.Init.Prescaler = 100;
  htim2.Init.CounterMode = TIM_COUNTERMODE_UP;
  htim2.Init.Period = 48000;
  htim2.Init.ClockDivision = TIM_CLOCKDIVISION_DIV1;
  htim2.Init.AutoReloadPreload = TIM_AUTORELOAD_PRELOAD_DISABLE;
  if (HAL_TIM_Base_Init(&htim2) != HAL_OK)
  {
    Error_Handler();
  }
  sClockSourceConfig.ClockSource = TIM_CLOCKSOURCE_INTERNAL;
  if (HAL_TIM_ConfigClockSource(&htim2, &sClockSourceConfig) != HAL_OK)
  {
    Error_Handler();
  }
  sMasterConfig.MasterOutputTrigger = TIM_TRGO_RESET;
  sMasterConfig.MasterSlaveMode = TIM_MASTERSLAVEMODE_DISABLE;
  if (HAL_TIMEx_MasterConfigSynchronization(&htim2, &sMasterConfig) != HAL_OK)
  {
    Error_Handler();
  }

}

static void MX_TIM3_Init(void)
{

  TIM_ClockConfigTypeDef sClockSourceConfig = {0};
  TIM_MasterConfigTypeDef sMasterConfig = {0};

  htim3.Instance = TIM3;
  htim3.Init.Prescaler = 1;
  htim3.Init.CounterMode = TIM_COUNTERMODE_UP;
  htim3.Init.Period = 48000;
  htim3.Init.ClockDivision = TIM_CLOCKDIVISION_DIV1;
  htim3.Init.AutoReloadPreload = TIM_AUTORELOAD_PRELOAD_DISABLE;
  if (HAL_TIM_Base_Init(&htim3) != HAL_OK)
  {
    Error_Handler();
  }
  sClockSourceConfig.ClockSource = TIM_CLOCKSOURCE_INTERNAL;
  if (HAL_TIM_ConfigClockSource(&htim3, &sClockSourceConfig) != HAL_OK)
  {
    Error_Handler();
  }
  sMasterConfig.MasterOutputTrigger = TIM_TRGO_RESET;
  sMasterConfig.MasterSlaveMode = TIM_MASTERSLAVEMODE_DISABLE;
  if (HAL_TIMEx_MasterConfigSynchronization(&htim3, &sMasterConfig) != HAL_OK)
  {
    Error_Handler();
  }

}

static void MX_TIM4_Init(void)
{

  TIM_ClockConfigTypeDef sClockSourceConfig = {0};
  TIM_MasterConfigTypeDef sMasterConfig = {0};

  htim4.Instance = TIM4;
  htim4.Init.Prescaler = 3;
  htim4.Init.CounterMode = TIM_COUNTERMODE_UP;
  htim4.Init.Period = 12000;
  htim4.Init.ClockDivision = TIM_CLOCKDIVISION_DIV1;
  htim4.Init.AutoReloadPreload = TIM_AUTORELOAD_PRELOAD_DISABLE;
  if (HAL_TIM_Base_Init(&htim4) != HAL_OK)
  {
    Error_Handler();
  }
  sClockSourceConfig.ClockSource = TIM_CLOCKSOURCE_INTERNAL;
  if (HAL_TIM_ConfigClockSource(&htim4, &sClockSourceConfig) != HAL_OK)
  {
    Error_Handler();
  }
  sMasterConfig.MasterOutputTrigger = TIM_TRGO_RESET;
  sMasterConfig.MasterSlaveMode = TIM_MASTERSLAVEMODE_DISABLE;
  if (HAL_TIMEx_MasterConfigSynchronization(&htim4, &sMasterConfig) != HAL_OK)
  {
    Error_Handler();
  }

}

static void MX_USART1_UART_Init(void)
{

  huart1.Instance = USART1;
  huart1.Init.BaudRate = 9600;
  huart1.Init.WordLength = UART_WORDLENGTH_8B;
  huart1.Init.StopBits = UART_STOPBITS_1;
  huart1.Init.Parity = UART_PARITY_NONE;
  huart1.Init.Mode = UART_MODE_TX_RX;
  huart1.Init.HwFlowCtl = UART_HWCONTROL_NONE;
  huart1.Init.OverSampling = UART_OVERSAMPLING_16;
  if (HAL_UART_Init(&huart1) != HAL_OK)
  {
    Error_Handler();
  }

}

static void MX_GPIO_Init(void)
{
  GPIO_InitTypeDef GPIO_InitStruct = {0};

  /* GPIO Ports Clock Enable */
  __HAL_RCC_GPIOC_CLK_ENABLE();
  __HAL_RCC_GPIOD_CLK_ENABLE();
  __HAL_RCC_GPIOA_CLK_ENABLE();
  __HAL_RCC_GPIOB_CLK_ENABLE();

  /*Configure GPIO pin Output Level */
  HAL_GPIO_WritePin(W5500_RST_GPIO_Port, W5500_RST_Pin, GPIO_PIN_SET);

  /*Configure GPIO pin Output Level */
  HAL_GPIO_WritePin(W5500_CS_GPIO_Port, W5500_CS_Pin, GPIO_PIN_RESET);

  /*Configure GPIO pin Output Level */
  HAL_GPIO_WritePin(GPIOB, LED_TX_Pin|LED_RX_Pin, GPIO_PIN_SET);

  /*Configure GPIO pin : RSTBUTTON_Pin */
  GPIO_InitStruct.Pin = RSTBUTTON_Pin;
  GPIO_InitStruct.Mode = GPIO_MODE_INPUT;
  GPIO_InitStruct.Pull = GPIO_PULLUP;
  HAL_GPIO_Init(RSTBUTTON_GPIO_Port, &GPIO_InitStruct);

  /*Configure GPIO pin : W5500_INT_Pin */
  GPIO_InitStruct.Pin = W5500_INT_Pin;
  GPIO_InitStruct.Mode = GPIO_MODE_IT_FALLING;
  GPIO_InitStruct.Pull = GPIO_NOPULL;
  HAL_GPIO_Init(W5500_INT_GPIO_Port, &GPIO_InitStruct);

  /*Configure GPIO pins : W5500_RST_Pin W5500_CS_Pin */
  GPIO_InitStruct.Pin = W5500_RST_Pin|W5500_CS_Pin;
  GPIO_InitStruct.Mode = GPIO_MODE_OUTPUT_PP;
  GPIO_InitStruct.Pull = GPIO_NOPULL;
  GPIO_InitStruct.Speed = GPIO_SPEED_FREQ_LOW;
  HAL_GPIO_Init(GPIOC, &GPIO_InitStruct);

  /*Configure GPIO pin : LED_TX_Pin */
  GPIO_InitStruct.Pin = LED_TX_Pin;
  GPIO_InitStruct.Mode = GPIO_MODE_OUTPUT_OD;
  GPIO_InitStruct.Pull = GPIO_NOPULL;
  GPIO_InitStruct.Speed = GPIO_SPEED_FREQ_LOW;
  HAL_GPIO_Init(LED_TX_GPIO_Port, &GPIO_InitStruct);

  /*Configure GPIO pin : LED_RX_Pin */
  GPIO_InitStruct.Pin = LED_RX_Pin;
  GPIO_InitStruct.Mode = GPIO_MODE_OUTPUT_PP;
  GPIO_InitStruct.Pull = GPIO_NOPULL;
  GPIO_InitStruct.Speed = GPIO_SPEED_FREQ_LOW;
  HAL_GPIO_Init(LED_RX_GPIO_Port, &GPIO_InitStruct);

  /* EXTI interrupt init*/
  HAL_NVIC_SetPriority(EXTI4_IRQn, 0, 0);
  HAL_NVIC_EnableIRQ(EXTI4_IRQn);

}

/* USER CODE BEGIN 4 */
void HAL_UART_RxCpltCallback(UART_HandleTypeDef *huart)
{
  if (huart == &huart1)
  {
	  //// изначально было так - // включаем cветодиод "RX"
	  //// HAL_GPIO_WritePin(LED_RX_GPIO_Port, LED_RX_Pin, GPIO_PIN_RESET);

	  // включаем cветодиод "TX"
	  HAL_GPIO_WritePin(LED_TX_GPIO_Port, LED_TX_Pin, GPIO_PIN_RESET);

	  // запу�?каем таймер TIM4, от�?читываем врем�? �?вечени�? cветодиода "RX"
	  HAL_TIM_Base_Start_IT(&htim4);

	  //HAL_TIM_Base_Stop(&htim3);

	  // обнул�?ем �?четчик таймера TIM3
	  __HAL_TIM_SET_COUNTER(&htim3, 0);

	  // запу�?каем таймер TIM3, от�?читываем врем�? до �?ледующего пакета по RX
	  HAL_TIM_Base_Start_IT(&htim3);

	  // �?охран�?ем полученный байт в буфер
	  receivedPacketUART[receivedBytesUARTCounter] = receivedByteUART;

	  //buf1.put(rxByte);

	  // инкрементируем �?четчик полученных байт
	  receivedBytesUARTCounter++;

	  // �?нова ждем приема байта по UART1
	  HAL_UART_Receive_IT(&huart1, &receivedByteUART, 1);
  }
}

void HAL_UART_TxCpltCallback(UART_HandleTypeDef *huart) {
  if(huart == &huart1)
  {
	  //// изначально было так - // гаcим cветодиод "TX"
	  //// HAL_GPIO_WritePin(LED_TX_GPIO_Port, LED_TX_Pin, GPIO_PIN_SET);

	  // гаcим cветодиод "RX"
	  HAL_GPIO_WritePin(LED_RX_GPIO_Port, LED_RX_Pin, GPIO_PIN_SET);
  }
}

void HAL_TIM_PeriodElapsedCallback(TIM_HandleTypeDef *htim)
{
	if(htim->Instance == TIM2) //check if the interrupt comes from TIM2
	{
		//HAL_TIM_Base_Stop(&htim2); tim2fixCounter RSTBUTTON
		if(!HAL_GPIO_ReadPin(RSTBUTTON_GPIO_Port, RSTBUTTON_Pin))
		{
			if(!tim2status)
			{
				tim2fixCounter = tim2counter;
				tim2status = true;
			}
		}
		else
		{
			if(tim2status)
			{
				uint32_t pressTime = tim2counter - tim2fixCounter;
				if(pressTime > 50)
				{
					eraseFLASH();
					NVIC_SystemReset();
				}
				else if (pressTime > 10)
				{
					NVIC_SystemReset();
				}
				tim2status = false;
			}
		}
		++tim2counter;
	}
	if(htim->Instance == TIM3) //check if the interrupt comes from TIM3
	{
		HAL_TIM_Base_Stop(&htim3);

		// копируем полученный пакет
		for (int i = 0; i < receivedBytesUARTCounter; ++i)
		{
			copiedReceivedPacketUART[i] = receivedPacketUART[i];
		}
		// копируем �?четчик полученных байт
		copiedReceivedBytesUARTCounter = receivedBytesUARTCounter;

		// у�?танавливаем флаг о готовно�?ти пакета, прин�?того по UART
		receivedPacketUARTisReady = true;

		// обнул�?ем �?четчик полученных байт
		receivedBytesUARTCounter = 0;
	}
	if(htim->Instance == TIM4) //check if the interrupt comes from TIM4
	{
		HAL_TIM_Base_Stop(&htim4);

		//// изначально было так - // гаcим cветодиод "RX"
		//// HAL_GPIO_WritePin(LED_RX_GPIO_Port, LED_RX_Pin, GPIO_PIN_SET);

		// гаcим cветодиод "TX"
		HAL_GPIO_WritePin(LED_TX_GPIO_Port, LED_TX_Pin, GPIO_PIN_SET);
	}
}

void HAL_GPIO_EXTI_Callback(uint16_t GPIO_Pin)
{
	if(GPIO_Pin == W5500_INT_Pin)
	{
		// читаем флаги прерываний от �?окетов
		uint8_t valueSIR = ethernetA1.readByteFromCRB(W5500_SIR);
		uint8_t valueSn_IR {0};
		if (valueSIR)
		{
			if (valueSIR & W5500_S0_INT)
			{
				// читаем флаги прерываний �?окета 0
				valueSn_IR = ethernetA1.readByteFromSRB(SOCKET0, W5500_Sn_IR);

				if (valueSn_IR & W5500_Sn_IR_RECV) // получен пакет
				{
					// принимаем полученные данные
					ethernetA1.receivePacket(SOCKET0, receiveSocket0data, &sizeOfReceiveSocket0data);
					// у�?танавливаем флаги
					socket0dataReady = true;
					needsTransmitUDP = true;
					// �?бра�?ываем флаг прерывани�? RECV в реги�?тре S0_IR
					ethernetA1.writeByteToSRB(SOCKET0, W5500_Sn_IR_RECV, W5500_Sn_IR);
				}

				if (valueSn_IR & W5500_Sn_IR_SEND_OK) // команда SEND выполнена
				{

				}

				if (valueSn_IR & W5500_Sn_IR_CON) // �?оединение �? пиром у�?пешно у�?тановлено
				{

				}

				if (valueSn_IR & W5500_Sn_IR_DISCON) // от пира получен пакет FIN или FIN/ACK
				{

				}

				if (valueSn_IR & W5500_Sn_IR_TIMEOUT) // произошло ARPto или TCPto
				{

				}
			}

			if (valueSIR & W5500_S1_INT)
			{
				// читаем флаги прерываний �?окета 1
				valueSn_IR = ethernetA1.readByteFromSRB(SOCKET1, W5500_Sn_IR);

				if (valueSn_IR & W5500_Sn_IR_RECV) // получен пакет
				{
					// принимаем полученные данные
					ethernetA1.receivePacket(SOCKET1, receiveSocket1data, &sizeOfReceiveSocket1data);
					// у�?танавливаем флаги
					socket1dataReady = true;
					needsTransmitTCP = true;
					// �?бра�?ываем флаг прерывани�? RECV в реги�?тре S1_IR
					ethernetA1.writeByteToSRB(SOCKET1, W5500_Sn_IR_RECV, W5500_Sn_IR);
				}

				if (valueSn_IR & W5500_Sn_IR_SEND_OK) // команда SEND выполнена
				{

				}

				if (valueSn_IR & W5500_Sn_IR_CON) // �?оединение �? пиром у�?пешно у�?тановлено
				{

				}

				if (valueSn_IR & W5500_Sn_IR_DISCON) // от пира получен пакет FIN или FIN/ACK
				{
					// отправл�?ем команду DISCONNECT
					ethernetA1.writeByteToSRB(SOCKET1, W5500_Sn_CR_DISCON, W5500_Sn_CR);
					// у�?танавливаем флаг
					needsOpenTCP = true;
					// �?бра�?ываем флаг прерывани�? RECV в реги�?тре S1_IR
					ethernetA1.writeByteToSRB(SOCKET1, W5500_Sn_IR_DISCON, W5500_Sn_IR);
				}

				if (valueSn_IR & W5500_Sn_IR_TIMEOUT) // произошло ARPto или TCPto
				{

				}
			}

			if (valueSIR & W5500_S2_INT)
			{
				// читаем флаги прерываний �?окета 2
				valueSn_IR = ethernetA1.readByteFromSRB(SOCKET2, W5500_Sn_IR);

				if (valueSn_IR & W5500_Sn_IR_RECV) // получен пакет
				{
					// принимаем полученные данные
					ethernetA1.receivePacket(SOCKET2, receiveSocket2data, &sizeOfReceiveSocket2data);
					// у�?танавливаем флаги
					socket2dataReady = true;
					//needsTransmitTCP = true;
					// �?бра�?ываем флаг прерывани�? RECV в реги�?тре S1_IR
					ethernetA1.writeByteToSRB(SOCKET2, W5500_Sn_IR_RECV, W5500_Sn_IR);
				}

				if (valueSn_IR & W5500_Sn_IR_SEND_OK) // команда SEND выполнена
				{

				}

				if (valueSn_IR & W5500_Sn_IR_CON) // �?оединение �? пиром у�?пешно у�?тановлено
				{
					counterMessages = 0;
					typedValueCounter = 0;
					ptrReadBufferTelnet = bufferTelnet;
					ptrWriteBufferTelnet = bufferTelnet;
					ethernetA1.sendString(SOCKET2, text0);
					// �?бра�?ываем флаг прерывани�? CON в реги�?тре S1_IR
					ethernetA1.writeByteToSRB(SOCKET2, W5500_Sn_IR_CON, W5500_Sn_IR);
				}

				if (valueSn_IR & W5500_Sn_IR_DISCON) // от пира получен пакет FIN или FIN/ACK
				{
					// отправл�?ем команду DISCONNECT
					ethernetA1.writeByteToSRB(SOCKET2, W5500_Sn_CR_DISCON, W5500_Sn_CR);
					// у�?танавливаем флаг
					needsOpenTelnet = true;
					// �?бра�?ываем флаг прерывани�? RECV в реги�?тре S1_IR
					ethernetA1.writeByteToSRB(SOCKET2, W5500_Sn_IR_DISCON, W5500_Sn_IR);
				}

				if (valueSn_IR & W5500_Sn_IR_TIMEOUT) // произошло ARPto или TCPto
				{

				}

			}

		}
	}
}

/* USER CODE END 4 */

void Error_Handler(void)
{
  __disable_irq();
  while (1)
  {
  }
}
